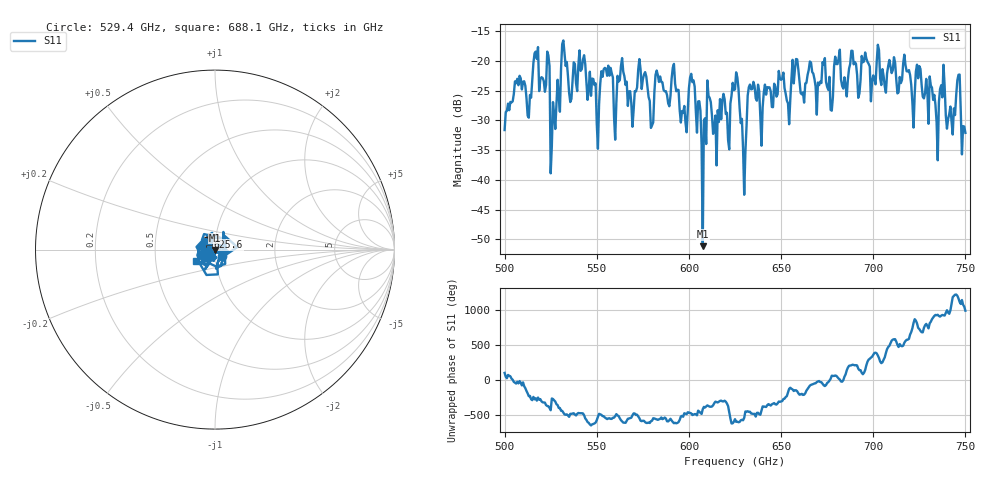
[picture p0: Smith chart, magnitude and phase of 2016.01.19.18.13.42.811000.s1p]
!Created with skrf (http://scikit-rf.org).
# GHz S RI R 50.0
!freq ReS11 ImS11
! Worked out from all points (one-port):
!   401 points, 500 GHz to 750 GHz, reference 50 ohm
!   lowest |S11| = -51.2 dB at 607.5 GHz (marker M1), VSWR 1.01, Z = 50.1 - j0.239 ohm
!   |S11| at or under -10 dB: start of sweep to end of sweep
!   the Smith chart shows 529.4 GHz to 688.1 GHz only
!   S11 on the Smith chart (normalised r, x): 529.4 GHz: 1.07, -0.07; 625.6 GHz: 0.92, +0.13; 688.1 GHz: 0.80, -0.10
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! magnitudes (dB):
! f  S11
! 500 GHz  -31.6
! 506.9 GHz  -23.0
! 513.1 GHz  -29.5
! 516.9 GHz  -18.4
! 523.1 GHz  -18.4
! 526.2 GHz  -26.9
! 529.4 GHz  -26.1
! 531.2 GHz  -17.1
! 550 GHz  -30.5
! 562.5 GHz  -23.2
! 579.4 GHz  -31.3
! 583.1 GHz  -22.3
! 593.8 GHz  -24.8
! 601.9 GHz  -23.6
! 607.5 GHz  -51.2
! 611.2 GHz  -26.2
! 621.2 GHz  -33.3
! 625 GHz  -24.8
! 625.6 GHz  -21.9
! 630 GHz  -42.5
! 633.8 GHz  -24.8
! 656.2 GHz  -19.8
! 687.5 GHz  -20.5
! 688.1 GHz  -18.3
! 718.8 GHz  -21.8
! 734.4 GHz  -30.3
! 746.2 GHz  -22.3
! 750 GHz  -32.1
